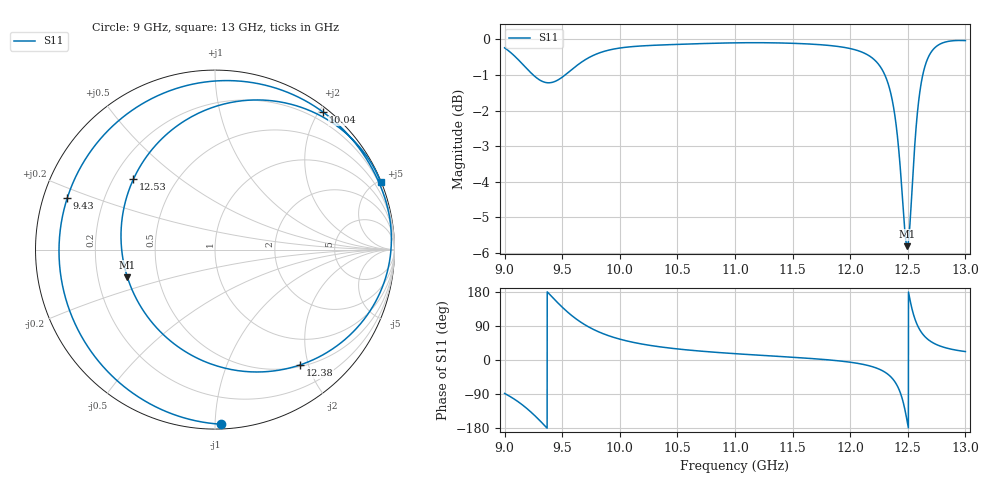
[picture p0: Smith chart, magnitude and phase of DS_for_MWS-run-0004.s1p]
! TOUCHSTONE file generated by CST DESIGN STUDIO
! Date and time: Tue Feb  4 15:51:08 2025
! Project name: C:\Work\MatlabApps\UnitCellOptimizationMatlab\CST\unitcell.cst
! Tree item: Tasks\Sweep1\SPara1\S-Parameters
! Header version: 2024
! Port assignment regex: !\s*Touchstone port\s*([0-9]+)\s*=\s*(CST MWS port|CST DES external port|CST DES block port)\s*(.+)\s* \(\"(.*)\"\)(\s*mode\s*([0-9]+))?.*
! Touchstone port assignment:
! Touchstone port 1 = CST DES external port 1 ("")
# GHz S MA R 50
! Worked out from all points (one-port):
!   4001 points, 9 GHz to 13 GHz, reference 50 ohm
!   lowest |S11| = -5.8 dB at 12.49 GHz (marker M1), VSWR 3.10, Z = 16.5 - j6.92 ohm
!   |S11| at or under -10 dB: nowhere
!   S11 on the Smith chart (normalised r, x): 9 GHz: 0.03, -1.03; 9.43 GHz: 0.07, +0.17; 10.04 GHz: 0.07, +2.06; 12.38 GHz: 0.53, -1.86; 12.53 GHz: 0.28, +0.34; 13 GHz: 0.05, +5.09
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9  0.9732 -88.2
9.107  0.9406 -107.9
9.202  0.9066 -130.2
9.324  0.8734 -165.6
9.43  0.8719 160.7
9.5  0.8849 139.5
9.592  0.9095 115.1
9.691  0.9345 94.1
9.838  0.9593 71.5
10  0.9726 55.0
10.041  0.9746 51.8
10.5  0.9842 29.2
11  0.9891 16.7
11.5  0.9876 7.2
12  0.9709 -5.8
12.253  0.9196 -24.3
12.324  0.8717 -36.8
12.379  0.7982 -53.6
12.444  0.6296 -94.3
12.495  0.5118 -162.4
12.5  0.5137 -170.7
12.533  0.6001 139.3
12.563  0.7196 107.3
12.594  0.8183 85.2
12.643  0.9096 63.5
12.699  0.9578 49.0
12.814  0.9904 33.5
13  0.9963 22.2
